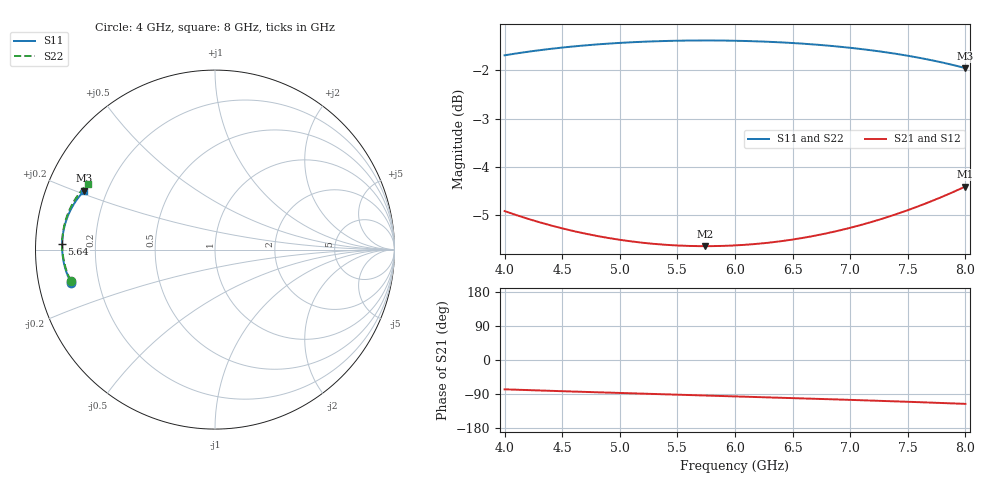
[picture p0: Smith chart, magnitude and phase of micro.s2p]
! Sonnet Data File
! From: emgraph Version : 15.53-Lite
! From Emgraph Data: micro_2
! Data File Written: 09/14/2014 16:21:40
!< HDATE 09/14/2014 13:11:56
!< MDATE 09/14/2014 13:16:03
# GHZ S RI R 50.00000
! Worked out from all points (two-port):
!   201 points, 4 GHz to 8 GHz, reference 50 ohm
!   highest |S21| = -4.41 dB at 8 GHz (marker M1); lowest = -5.6 dB at 5.74 GHz (marker M2)
!   |S21| within 3 dB of the highest: start of sweep to end of sweep
!   lowest |S11| = -2.0 dB at 8 GHz (marker M3), VSWR 8.92, Z = 5.86 + j10.6 ohm
!   |S11| at or under -10 dB: nowhere
!   |S22| runs from -2.0 to -1.4 dB; largest |S21 - S12| = 0
!   S11 on the Smith chart (normalised r, x): 4 GHz: 0.10, -0.11; 5.64 GHz: 0.08, +0.02; 8 GHz: 0.12, +0.21
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4  -0.8016 -0.1867  0.124 -0.5543  0.124 -0.5543  -0.8047 -0.1725
!< P1 F=4.0 Eeff=(7.93693475 -7.6937e-4) Z0=(18.3083421 8.89069e-4) R=0.16812883 C=0.01954508
!< P2 F=4.0 Eeff=(7.93693475 -7.6937e-4) Z0=(18.3083421 8.89069e-4) R=0.16812883 C=0.01954508
4.16  -0.812 -0.1652  0.1066 -0.5494  0.1066 -0.5494  -0.8149 -0.1502
4.34  -0.8221 -0.1412  0.0881 -0.5444  0.0881 -0.5444  -0.8247 -0.1252
4.5  -0.8297 -0.1199  0.0725 -0.5402  0.0725 -0.5402  -0.832 -0.1029
4.68  -0.8368 -0.096  0.0557 -0.536  0.0557 -0.536  -0.8387 -0.0781
5  -0.846 -0.0539  0.0276 -0.5297  0.0276 -0.5297  -0.847 -0.0341
5.16  -0.849 -0.0329  0.0141 -0.5272  0.0141 -0.5272  -0.8495 -0.0122
5.34  -0.8511 -0.00949  -0.00083 -0.5248  -0.00083 -0.5248  -0.8511 0.0123
5.64  -0.852 0.0294  -0.0252 -0.522  -0.0252 -0.522  -0.8509 0.053
5.74  -0.8516 0.0423  -0.0333 -0.5214  -0.0333 -0.5214  -0.85 0.0665
6  -0.8487 0.0758  -0.0544 -0.5206  -0.0544 -0.5206  -0.846 0.1015
6.34  -0.841 0.1194  -0.0828 -0.5211  -0.0828 -0.5211  -0.8366 0.1472
6.52  -0.8351 0.1425  -0.0984 -0.522  -0.0984 -0.522  -0.8297 0.1713
6.68  -0.8288 0.1629  -0.1127 -0.5233  -0.1127 -0.5233  -0.8224 0.1927
6.86  -0.8203 0.1859  -0.1295 -0.5251  -0.1295 -0.5251  -0.8127 0.2168
7.02  -0.8116 0.2063  -0.1451 -0.527  -0.1451 -0.527  -0.8028 0.2381
7.18  -0.8016 0.2266  -0.1614 -0.5291  -0.1614 -0.5291  -0.7916 0.2594
7.34  -0.7903 0.2469  -0.1786 -0.5315  -0.1786 -0.5315  -0.779 0.2805
7.5  -0.7776 0.267  -0.1969 -0.5341  -0.1969 -0.5341  -0.7648 0.3016
7.68  -0.7615 0.2894  -0.2187 -0.5371  -0.2187 -0.5371  -0.747 0.3249
7.84  -0.7454 0.3091  -0.2396 -0.5397  -0.2396 -0.5397  -0.7293 0.3454
8  -0.7276 0.3285  -0.2618 -0.5423  -0.2618 -0.5423  -0.7097 0.3655
